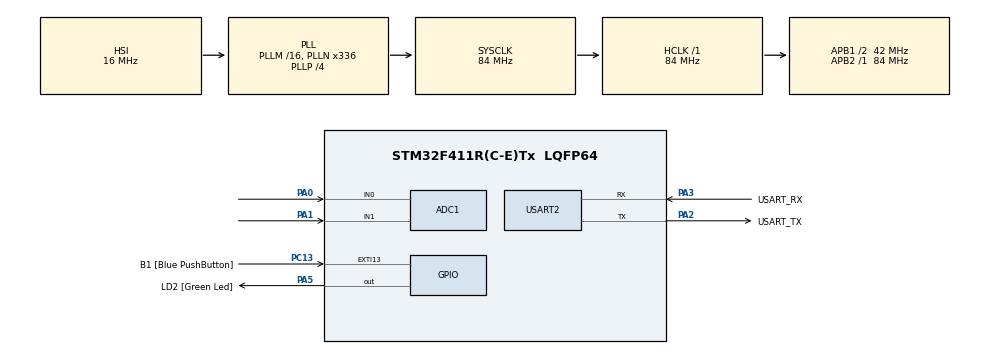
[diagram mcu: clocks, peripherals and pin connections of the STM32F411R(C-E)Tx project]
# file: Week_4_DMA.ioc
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ADC1.Channel-0\#ChannelRegularConversion=ADC_CHANNEL_0
ADC1.Channel-1\#ChannelRegularConversion=ADC_CHANNEL_1
ADC1.Channel-2\#ChannelRegularConversion=ADC_CHANNEL_TEMPSENSOR
ADC1.Channel-3\#ChannelRegularConversion=ADC_CHANNEL_VREFINT
ADC1.ContinuousConvMode=ENABLE
ADC1.DMAContinuousRequests=ENABLE
ADC1.NbrOfConversion=4
ADC1.NbrOfConversionFlag=1
ADC1.Rank-0\#ChannelRegularConversion=1
ADC1.Rank-1\#ChannelRegularConversion=2
ADC1.Rank-2\#ChannelRegularConversion=3
ADC1.Rank-3\#ChannelRegularConversion=4
ADC1.SamplingTime-0\#ChannelRegularConversion=ADC_SAMPLETIME_3CYCLES
ADC1.SamplingTime-1\#ChannelRegularConversion=ADC_SAMPLETIME_3CYCLES
ADC1.SamplingTime-2\#ChannelRegularConversion=ADC_SAMPLETIME_3CYCLES
ADC1.SamplingTime-3\#ChannelRegularConversion=ADC_SAMPLETIME_3CYCLES
ADC1.ScanConvMode=ENABLE
ADC1.master=1
Dma.ADC1.0.Direction=DMA_PERIPH_TO_MEMORY
Dma.ADC1.0.FIFOMode=DMA_FIFOMODE_DISABLE
Dma.ADC1.0.Instance=DMA2_Stream0
Dma.ADC1.0.MemDataAlignment=DMA_MDATAALIGN_WORD
Dma.ADC1.0.MemInc=DMA_MINC_ENABLE
Dma.ADC1.0.Mode=DMA_CIRCULAR
Dma.ADC1.0.PeriphDataAlignment=DMA_PDATAALIGN_WORD
Dma.ADC1.0.PeriphInc=DMA_PINC_DISABLE
Dma.ADC1.0.Priority=DMA_PRIORITY_LOW
Dma.Request0=ADC1
Mcu.Family=STM32F4
Mcu.Name=STM32F411R(C-E)Tx
Mcu.Package=LQFP64
NVIC.DMA2_Stream0_IRQn=true\:0\:0\:false\:false\:true\:false\:true
NVIC.EXTI15_10_IRQn=true\:0\:0\:false\:false\:true\:true\:true
NVIC.PriorityGroup=NVIC_PRIORITYGROUP_0
PA0-WKUP.Signal=ADCx_IN0
PA1.Signal=ADCx_IN1
PA13.GPIO_Label=TMS
PA13.Mode=Serial_Wire
PA13.Signal=SYS_JTMS-SWDIO
PA14.GPIO_Label=TCK
PA14.Mode=Serial_Wire
PA14.Signal=SYS_JTCK-SWCLK
PA2.GPIO_Label=USART_TX
PA2.Mode=Asynchronous
PA2.Signal=USART2_TX
PA3.GPIO_Label=USART_RX
PA3.Mode=Asynchronous
PA3.Signal=USART2_RX
PA5.GPIO_Label=LD2 [Green Led]
PA5.Signal=GPIO_Output
PB3.GPIO_Label=SWO
PB3.Signal=SYS_JTDO-SWO
PC13-ANTI_TAMP.GPIO_Label=B1 [Blue PushButton]
PC13-ANTI_TAMP.GPIO_ModeDefaultEXTI=GPIO_MODE_IT_RISING_FALLING
PC13-ANTI_TAMP.GPIO_PuPd=GPIO_PULLUP
PC13-ANTI_TAMP.Signal=GPXTI13
PC14-OSC32_IN.Mode=LSE-External-Oscillator
PC14-OSC32_IN.Signal=RCC_OSC32_IN
PC15-OSC32_OUT.Mode=LSE-External-Oscillator
PC15-OSC32_OUT.Signal=RCC_OSC32_OUT
PH0\ -\ OSC_IN.Mode=HSE-External-Clock-Source
PH0\ -\ OSC_IN.Signal=RCC_OSC_IN
PH1\ -\ OSC_OUT.Mode=HSE-External-Clock-Source
PH1\ -\ OSC_OUT.Signal=RCC_OSC_OUT
ProjectManager.HeapSize=0x200
ProjectManager.StackSize=0x400
ProjectManager.TargetToolchain=STM32CubeIDE
RCC.48MHZClocksFreq_Value=84000000
RCC.AHBFreq_Value=84000000
RCC.APB1CLKDivider=RCC_HCLK_DIV2
RCC.APB1Freq_Value=42000000
RCC.APB1TimFreq_Value=84000000
RCC.APB2Freq_Value=84000000
RCC.APB2TimFreq_Value=84000000
RCC.CortexFreq_Value=84000000
RCC.FLatency-AdvancedSettings=FLASH_LATENCY_2
RCC.HCLKFreq_Value=84000000
RCC.HSE_VALUE=8000000
RCC.HSI_VALUE=16000000
RCC.PLLN=336
RCC.PLLP=RCC_PLLP_DIV4
RCC.SYSCLKFreq_VALUE=84000000
RCC.SYSCLKSource=RCC_SYSCLKSOURCE_PLLCLK
RCC.VCOOutputFreq_Value=336000000
SH.ADCx_IN0.0=ADC1_IN0,IN0
SH.ADCx_IN1.0=ADC1_IN1,IN1
USART2.VirtualMode=VM_ASYNC
VP_ADC1_TempSens_Input.Mode=IN-TempSens
VP_ADC1_Vref_Input.Mode=IN-Vrefint
board=NUCLEO-F411RE

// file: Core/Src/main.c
/* USER CODE BEGIN Header */
/**
  ******************************************************************************
  * @file           : main.c
  * @brief          : Main program body
  ******************************************************************************
  * @attention
  *
  * <h2><center>&copy; Copyright (c) 2021 STMicroelectronics.
  * All rights reserved.</center></h2>
  *
  * This software component is licensed by ST under BSD 3-Clause license,
  * the "License"; You may not use this file except in compliance with the
  * License. You may obtain a copy of the License at:
  *                        opensource.org/licenses/BSD-3-Clause
  *
  ******************************************************************************
  */
/* USER CODE END Header */
#include "main.h"

ADC_HandleTypeDef hadc1;
DMA_HandleTypeDef hdma_adc1;

UART_HandleTypeDef huart2;

/* USER CODE BEGIN PV */
uint32_t ADCData[4] = {0};
uint32_t Random_Time = 0;
uint32_t Press_Timestamp = 0;
uint32_t Record_Time = 0;
/* USER CODE END PV */

void SystemClock_Config(void);
static void MX_GPIO_Init(void);
static void MX_DMA_Init(void);
static void MX_USART2_UART_Init(void);
static void MX_ADC1_Init(void);

int main(void)
{

  /* MCU Configuration--------------------------------------------------------*/

  /* Reset of all peripherals, Initializes the Flash interface and the Systick. */
  HAL_Init();

  /* Configure the system clock */
  SystemClock_Config();

  /* Initialize all configured peripherals */
  MX_GPIO_Init();
  MX_DMA_Init();
  MX_USART2_UART_Init();
  MX_ADC1_Init();
  /* USER CODE BEGIN 2 */
  HAL_ADC_Start_DMA(&hadc1, ADCData, 4); //ADCData = &ADCData[0]
  /* USER CODE END 2 */

  /* Infinite loop */
  /* USER CODE BEGIN WHILE */
  while (1)
  {
	  if (HAL_GetTick() >= Random_Time + Press_Timestamp)
	  {
		  HAL_GPIO_WritePin(GPIOA, GPIO_PIN_5, GPIO_PIN_SET);
		  Press_Timestamp = HAL_GetTick();
	  }

    /* USER CODE END WHILE */

  }
}

void SystemClock_Config(void)
{
  RCC_OscInitTypeDef RCC_OscInitStruct = {0};
  RCC_ClkInitTypeDef RCC_ClkInitStruct = {0};

  /** Configure the main internal regulator output voltage
  */
  __HAL_RCC_PWR_CLK_ENABLE();
  __HAL_PWR_VOLTAGESCALING_CONFIG(PWR_REGULATOR_VOLTAGE_SCALE1);
  /** Initializes the RCC Oscillators according to the specified parameters
  * in the RCC_OscInitTypeDef structure.
  */
  RCC_OscInitStruct.OscillatorType = RCC_OSCILLATORTYPE_HSI;
  RCC_OscInitStruct.HSIState = RCC_HSI_ON;
  RCC_OscInitStruct.HSICalibrationValue = RCC_HSICALIBRATION_DEFAULT;
  RCC_OscInitStruct.PLL.PLLState = RCC_PLL_ON;
  RCC_OscInitStruct.PLL.PLLSource = RCC_PLLSOURCE_HSI;
  RCC_OscInitStruct.PLL.PLLM = 16;
  RCC_OscInitStruct.PLL.PLLN = 336;
  RCC_OscInitStruct.PLL.PLLP = RCC_PLLP_DIV4;
  RCC_OscInitStruct.PLL.PLLQ = 4;
  if (HAL_RCC_OscConfig(&RCC_OscInitStruct) != HAL_OK)
  {
    Error_Handler();
  }
  /** Initializes the CPU, AHB and APB buses clocks
  */
  RCC_ClkInitStruct.ClockType = RCC_CLOCKTYPE_HCLK|RCC_CLOCKTYPE_SYSCLK
                              |RCC_CLOCKTYPE_PCLK1|RCC_CLOCKTYPE_PCLK2;
  RCC_ClkInitStruct.SYSCLKSource = RCC_SYSCLKSOURCE_PLLCLK;
  RCC_ClkInitStruct.AHBCLKDivider = RCC_SYSCLK_DIV1;
  RCC_ClkInitStruct.APB1CLKDivider = RCC_HCLK_DIV2;
  RCC_ClkInitStruct.APB2CLKDivider = RCC_HCLK_DIV1;

  if (HAL_RCC_ClockConfig(&RCC_ClkInitStruct, FLASH_LATENCY_2) != HAL_OK)
  {
    Error_Handler();
  }
}

static void MX_ADC1_Init(void)
{

  ADC_ChannelConfTypeDef sConfig = {0};

  /** Configure the global features of the ADC (Clock, Resolution, Data Alignment and number of conversion)
  */
  hadc1.Instance = ADC1;
  hadc1.Init.ClockPrescaler = ADC_CLOCK_SYNC_PCLK_DIV4;
  hadc1.Init.Resolution = ADC_RESOLUTION_12B;
  hadc1.Init.ScanConvMode = ENABLE;
  hadc1.Init.ContinuousConvMode = ENABLE;
  hadc1.Init.DiscontinuousConvMode = DISABLE;
  hadc1.Init.ExternalTrigConvEdge = ADC_EXTERNALTRIGCONVEDGE_NONE;
  hadc1.Init.ExternalTrigConv = ADC_SOFTWARE_START;
  hadc1.Init.DataAlign = ADC_DATAALIGN_RIGHT;
  hadc1.Init.NbrOfConversion = 4;
  hadc1.Init.DMAContinuousRequests = ENABLE;
  hadc1.Init.EOCSelection = ADC_EOC_SINGLE_CONV;
  if (HAL_ADC_Init(&hadc1) != HAL_OK)
  {
    Error_Handler();
  }
  /** Configure for the selected ADC regular channel its corresponding rank in the sequencer and its sample time.
  */
  sConfig.Channel = ADC_CHANNEL_0;
  sConfig.Rank = 1;
  sConfig.SamplingTime = ADC_SAMPLETIME_480CYCLES;
  if (HAL_ADC_ConfigChannel(&hadc1, &sConfig) != HAL_OK)
  {
    Error_Handler();
  }
  /** Configure for the selected ADC regular channel its corresponding rank in the sequencer and its sample time.
  */
  sConfig.Channel = ADC_CHANNEL_1;
  sConfig.Rank = 2;
  if (HAL_ADC_ConfigChannel(&hadc1, &sConfig) != HAL_OK)
  {
    Error_Handler();
  }
  /** Configure for the selected ADC regular channel its corresponding rank in the sequencer and its sample time.
  */
  sConfig.Channel = ADC_CHANNEL_TEMPSENSOR;
  sConfig.Rank = 3;
  if (HAL_ADC_ConfigChannel(&hadc1, &sConfig) != HAL_OK)
  {
    Error_Handler();
  }
  /** Configure for the selected ADC regular channel its corresponding rank in the sequencer and its sample time.
  */
  sConfig.Channel = ADC_CHANNEL_VREFINT;
  sConfig.Rank = 4;
  if (HAL_ADC_ConfigChannel(&hadc1, &sConfig) != HAL_OK)
  {
    Error_Handler();
  }

}

static void MX_USART2_UART_Init(void)
{

  huart2.Instance = USART2;
  huart2.Init.BaudRate = 115200;
  huart2.Init.WordLength = UART_WORDLENGTH_8B;
  huart2.Init.StopBits = UART_STOPBITS_1;
  huart2.Init.Parity = UART_PARITY_NONE;
  huart2.Init.Mode = UART_MODE_TX_RX;
  huart2.Init.HwFlowCtl = UART_HWCONTROL_NONE;
  huart2.Init.OverSampling = UART_OVERSAMPLING_16;
  if (HAL_UART_Init(&huart2) != HAL_OK)
  {
    Error_Handler();
  }

}

static void MX_DMA_Init(void)
{

  /* DMA controller clock enable */
  __HAL_RCC_DMA2_CLK_ENABLE();

  /* DMA interrupt init */
  /* DMA2_Stream0_IRQn interrupt configuration */
  HAL_NVIC_SetPriority(DMA2_Stream0_IRQn, 0, 0);
  HAL_NVIC_EnableIRQ(DMA2_Stream0_IRQn);

}

static void MX_GPIO_Init(void)
{
  GPIO_InitTypeDef GPIO_InitStruct = {0};

  /* GPIO Ports Clock Enable */
  __HAL_RCC_GPIOC_CLK_ENABLE();
  __HAL_RCC_GPIOH_CLK_ENABLE();
  __HAL_RCC_GPIOA_CLK_ENABLE();
  __HAL_RCC_GPIOB_CLK_ENABLE();

  /*Configure GPIO pin Output Level */
  HAL_GPIO_WritePin(LD2_GPIO_Port, LD2_Pin, GPIO_PIN_SET);

  /*Configure GPIO pin : B1_Pin */
  GPIO_InitStruct.Pin = B1_Pin;
  GPIO_InitStruct.Mode = GPIO_MODE_IT_RISING_FALLING;
  GPIO_InitStruct.Pull = GPIO_PULLUP;
  HAL_GPIO_Init(B1_GPIO_Port, &GPIO_InitStruct);

  /*Configure GPIO pin : LD2_Pin */
  GPIO_InitStruct.Pin = LD2_Pin;
  GPIO_InitStruct.Mode = GPIO_MODE_OUTPUT_PP;
  GPIO_InitStruct.Pull = GPIO_NOPULL;
  GPIO_InitStruct.Speed = GPIO_SPEED_FREQ_LOW;
  HAL_GPIO_Init(LD2_GPIO_Port, &GPIO_InitStruct);

  /* EXTI interrupt init*/
  HAL_NVIC_SetPriority(EXTI15_10_IRQn, 0, 0);
  HAL_NVIC_EnableIRQ(EXTI15_10_IRQn);

}

/* USER CODE BEGIN 4 */
void HAL_GPIO_EXTI_Callback(uint16_t GPIO_Pin)
{

	if(GPIO_Pin == GPIO_PIN_13)
	{
		if (HAL_GPIO_ReadPin(GPIOC, GPIO_PIN_13) == GPIO_PIN_RESET )
		{
			HAL_GPIO_WritePin(GPIOA, GPIO_PIN_5, GPIO_PIN_RESET);
			Random_Time = 1000 + ((22695477 * ADCData[0]) + ADCData[1]) % 10000;
			Press_Timestamp = HAL_GetTick();

		}
		if (HAL_GPIO_ReadPin(GPIOC, GPIO_PIN_13) == GPIO_PIN_SET)
		{
			Record_Time = HAL_GetTick() - Press_Timestamp;
			if (HAL_GPIO_ReadPin(GPIOA, GPIO_PIN_5) == GPIO_PIN_RESET)
			{
				Record_Time = 999999999 ;
			}
		}
	}
}
/* USER CODE END 4 */

void Error_Handler(void)
{
  __disable_irq();
  while (1)
  {
  }
}

/************************ (C) COPYRIGHT STMicroelectronics *****END OF FILE****/
